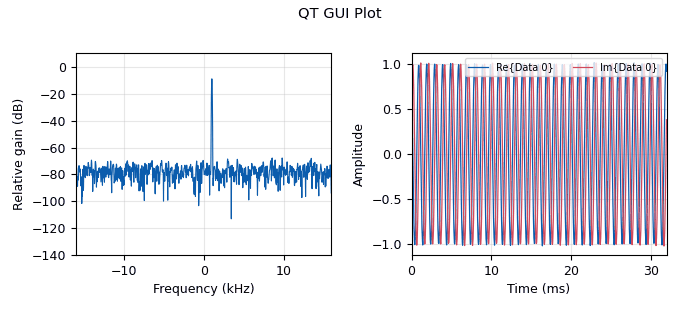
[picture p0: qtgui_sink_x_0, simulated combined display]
options:
  parameters:
    category: Custom
    generate_options: qt_gui
    id: grc_qt_example
    output_language: python
  states: {}

blocks:
- name: amp
  id: variable_qtgui_range
  parameters:
    label: Signal Amplitude
    orient: Qt.Horizontal
    start: '0'
    step: '0.01'
    stop: '1.0'
    value: '1'
  states: {}
- name: freq
  id: variable_qtgui_range
  parameters:
    label: Signal Frequency
    orient: Qt.Horizontal
    start: '0'
    step: samp_rate/100.0
    stop: samp_rate/2.0
    value: '1000'
  states: {}
- name: noise
  id: variable_qtgui_range
  parameters:
    label: Noise Amplitude
    orient: Qt.Horizontal
    start: '0'
    step: '0.01'
    stop: '1.0'
    value: '0.01'
  states: {}
- name: samp_rate
  id: variable
  parameters:
    value: '32000'
  states: {}
- name: sat
  id: variable_qtgui_chooser
  parameters:
    gui_hint: (3,0,1,1)
    label: Demo Satellite
    labels: '["Generic 1k2 FSK","FloripaSat 1","ITASAT 1","AO-73","JY1SAT (JO-97)","NAYIF-1 (EO-88)"]'
    num_opts: '0'
    options: '[0,1,2,3,4,5,6]'
    type: int
    value: '0'
  states: {}
- name: snr
  id: variable
  parameters:
    value: '0'
  states: {}
- name: state
  id: variable
  parameters:
    comment: Evaluates SNR value and returns Boolean value for LED
    value: int((sat == 0 and snr >= 0.387204) or (sat == 1 and snr >= 0.387204) or (sat == 2 and snr >= 0.280505) or (sat == 3 or sat == 4 or sat == 5 and snr >= 0.44457))
  states: {}
- name: analog_sig_source_x_0
  id: analog_sig_source_x
  parameters:
    amp: amp
    freq: freq
    offset: '0'
    phase: '0'
    samp_rate: samp_rate
    type: complex
    waveform: analog.GR_COS_WAVE
  states: {}
- name: blocks_throttle_0
  id: blocks_throttle
  parameters:
    samples_per_second: samp_rate
    type: complex
  states: {}
- name: channels_channel_model_0
  id: channels_channel_model
  parameters:
    epsilon: '1.0'
    freq_offset: '0.0'
    noise_voltage: noise
    seed: '-42'
    taps: 1.0 + 0.0j
  states: {}
- name: digital_probe_mpsk_snr_est_c_0
  id: digital_probe_mpsk_snr_est_c
  parameters:
    alpha: '0.001'
    msg_nsamples: '10000'
    type: '3'
  states: {}
- name: gpredict_MsgPairToVar_0
  id: gpredict_MsgPairToVar
  parameters:
    target: snr
  states: {}
- name: gpredict_MsgPairToVar_0_0
  id: gpredict_MsgPairToVar
  parameters:
    target: snr
  states: {state: disabled}
- name: gpredict_VarToMsg_0
  id: gpredict_VarToMsg
  parameters:
    msgname: state
    target: bool(state)
  states: {}
- name: guiextra_ledindicator_0
  id: guiextra_ledindicator
  parameters:
    cellalignment: '1'
    label: '"State"'
    maxSize: '40'
    offColor: red
    onColor: green
    position: '1'
    state: state
    verticalalignment: '1'
  states: {state: disabled}
- name: guiextra_ledindicator_0_0
  id: guiextra_ledindicator
  parameters:
    cellalignment: '1'
    label: '"State"'
    maxSize: '40'
    offColor: red
    onColor: green
    position: '1'
    state: int((sat == 0 and snr >= 0.387204) or (sat == 1 and snr >= 0.387204) or (sat == 2 and snr >= 0.280505) or (sat == 3 or sat == 4 or sat == 5 and snr >= 0.44457))
    verticalalignment: '1'
  states: {}
- name: qtgui_edit_box_msg_0
  id: qtgui_edit_box_msg
  parameters:
    is_pair: 'False'
    is_static: 'False'
    type: float
    value: snr
  states: {state: disabled}
- name: qtgui_edit_box_msg_0_0
  id: qtgui_edit_box_msg
  parameters:
    is_pair: 'False'
    is_static: 'False'
    type: float
  states: {state: disabled}
- name: qtgui_sink_x_0
  id: qtgui_sink_x
  parameters:
    bw: samp_rate
    fc: '0'
    fftsize: '1024'
    name: QT GUI Plot
    plotconst: 'False'
    type: complex
    wintype: firdes.WIN_BLACKMAN_hARRIS
  states: {}

connections:
- [analog_sig_source_x_0, '0', blocks_throttle_0, '0']
- [blocks_throttle_0, '0', channels_channel_model_0, '0']
- [channels_channel_model_0, '0', digital_probe_mpsk_snr_est_c_0, '0']
- [channels_channel_model_0, '0', qtgui_sink_x_0, '0']
- [digital_probe_mpsk_snr_est_c_0, snr, gpredict_MsgPairToVar_0, inpair]
- [digital_probe_mpsk_snr_est_c_0, snr, qtgui_edit_box_msg_0, val]
- [digital_probe_mpsk_snr_est_c_0, snr, qtgui_edit_box_msg_0_0, val]
- [gpredict_VarToMsg_0, msgout, guiextra_ledindicator_0_0, state]
- [qtgui_edit_box_msg_0, msg, gpredict_MsgPairToVar_0, inpair]
- [qtgui_edit_box_msg_0, msg, guiextra_ledindicator_0, state]
- [qtgui_edit_box_msg_0_0, msg, guiextra_ledindicator_0, state]

metadata:
  file_format: 1
